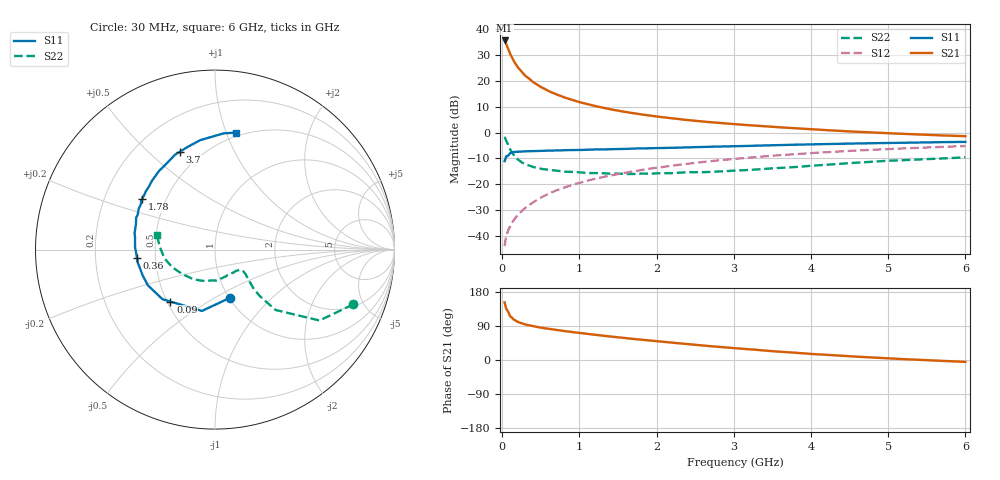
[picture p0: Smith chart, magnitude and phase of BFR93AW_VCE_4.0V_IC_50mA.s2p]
! Infineon Technologies  Discrete & RF Semiconductors
! BFR93AW
! VCE =  4.0 V,  IC =  50 mA
! Common Emitter S-Parameters:  Nov 2015
# GHz  S  MA  R  50
!  f  S11  S21  S12  S22
! GHz  MAG  ANG  MAG  ANG  MAG  ANG  MAG  ANG
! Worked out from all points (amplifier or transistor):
!   206 points, 30 MHz to 6 GHz, reference 50 ohm
!   highest |S21| = 35.6 dB at 30 MHz (marker M1)
!   |S21| within 3 dB of that: start of sweep to 73.11 MHz
!   unconditionally stable (mu >= 1): 357.7 MHz to 2.195 GHz
!   at 200 MHz: K = 0.90, MSG = 28.6 dB, |S12| = -31.8 dB
!   at 1.56 GHz: K = 1.04, MAG = 10.7 dB, |S12| = -15.7 dB
!   at 6 GHz: K = 0.92, MSG = 1.9 dB, |S12| = -5.2 dB
!   S11 on the Smith chart (normalised r, x): 30 MHz: 1.01, -0.59; 90 MHz: 0.52, -0.35; 360 MHz: 0.39, -0.04; 1.78 GHz: 0.37, +0.27; 3.7 GHz: 0.39, +0.63; 6 GHz: 0.47, +1.08
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0.03  0.281 -72.3  60.25 152.1  0.0064 72.3  0.827 -21.7
0.05  0.3492 -102.0  51.68 135.4  0.01 68.9  0.7029 -34.2
0.09  0.3814 -130.6  36.63 121.2  0.0144 66.8  0.5201 -42.0
0.1  0.4023 -136.6  33.42 115.7  0.0155 66.5  0.4766 -44.9
0.15  0.4236 -151.9  23.74 106.3  0.0205 67.9  0.3624 -46.1
0.2  0.4275 -160.1  18.34 100.6  0.0256 69.7  0.3034 -45.2
0.24  0.4302 -165.2  15.53 97.5  0.0294 71.5  0.2734 -43.6
0.3  0.4366 -170.4  12.45 93.6  0.0354 73.3  0.2447 -41.5
0.36  0.437 -174.2  10.62 91.1  0.0412 74.0  0.2279 -39.8
0.4  0.4383 -176.7  9.421 89.0  0.045 74.3  0.2168 -38.6
0.5  0.4454 178.7  7.597 85.2  0.0554 75.1  0.1996 -37.6
0.6  0.4478 175.0  6.357 82.1  0.0657 75.5  0.1911 -37.2
0.8  0.4573 168.4  4.808 76.4  0.0864 74.8  0.1761 -39.9
1.04  0.4634 161.9  3.743 70.4  0.1113 73.6  0.1688 -44.3
1.4  0.478 153.5  2.825 62.0  0.1481 71.0  0.1608 -55.3
1.78  0.4955 145.3  2.269 53.9  0.187 67.9  0.1614 -68.0
2.02  0.5034 140.2  2.028 49.0  0.2114 65.7  0.1643 -76.0
3.1  0.5495 119.6  1.422 29.9  0.3188 54.9  0.1866 -111.3
3.7  0.5795 109.6  1.238 20.5  0.3755 48.4  0.2115 -133.5
4.1  0.5959 103.4  1.138 14.9  0.4105 44.1  0.2336 -147.1
5.1  0.6332 90.2  0.959 3.2  0.4883 33.2  0.2895 -173.1
6  0.6616 80.0  0.853 -5.0  0.5502 23.9  0.3325 166.3
